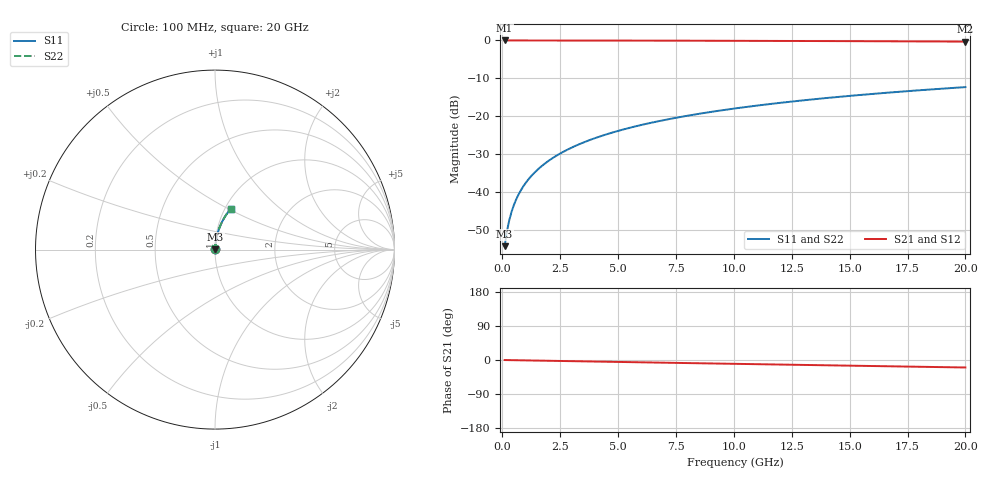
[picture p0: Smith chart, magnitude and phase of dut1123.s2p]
! Touchstone file exported from HFSS 2026.1.0
!  File:  C:/ffzhzh/LocalFiles/Ansys_Project_Files/temp_train_BSMRDL_1123_1783175173_55132.aedt
!  Generated:  10:27:36 PM Jul  4, 2026
!  Design:  BSMRDL
!  Project:  temp_train_BSMRDL_1123_1783175173_55132
! Variables:
!  h_bsmrdl = 3.51um
!  h_ox = 20um
!  h_rdl = 5um
!  h_sub = 80um
!  h_tmrdl = 5um
!  h_tsv = 80um
!  h_via = 3um
!  l_bsmrdl = 205.71um
!  l_sub = 605.71um
!  l_tmrdl = 200um
!  m_sub = 200um
!  pitch = 56.84um
!  r_tsv = 6um
!  s_tmrdl = 10um
!  w_bsmrdl = 16.82um
!  w_sub = 500um
!  w_tmrdl = 12um
!  x_tsv_center1 = 206um
!  x_tsv_center2 = 428.53um
!  x_tsv_center3 = 640.53um
!  x_tsv_center4 = 863.06um
!  x_tsv_center5 = 1075.06um
!  x_tsv_center6 = 1297.59um
# GHz S MA R 50.000000
! Terminal data exported
! Port[1] = BSM_RDL1_1_T1
! Port[2] = BSM_RDL1_1_T2
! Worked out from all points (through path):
!   200 points, 100 MHz to 20 GHz, reference 50 ohm
!   highest |S21| = -0.01 dB at 100 MHz (marker M1); lowest = -0.3 dB at 20 GHz (marker M2)
!   group delay of S21, straight-line fit = 2.74 ps
!   lowest |S11| = -54.1 dB at 100 MHz (marker M3), VSWR 1.00, Z = 50.1 + j0.136 ohm
!   |S11| at or under -10 dB: start of sweep to end of sweep
!   |S22| runs from -54.1 to -12.3 dB; largest |S21 - S12| = 3.2e-15
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0.1  0.001966 43.6  0.9986 -0.1  0.9986 -0.1  0.001966 43.6
! Gamma 0 0 0 0
! Port Impedance 50 0 50 0
0.2  0.00307 61.6  0.9985 -0.2  0.9985 -0.2  0.00307 61.6
0.3  0.0043 69.4  0.9985 -0.3  0.9985 -0.3  0.0043 69.4
0.4  0.005561 73.6  0.9985 -0.4  0.9985 -0.4  0.005561 73.6
0.5  0.00683 76.2  0.9984 -0.5  0.9984 -0.5  0.00683 76.2
0.6  0.008102 78.0  0.9984 -0.6  0.9984 -0.6  0.008102 78.0
0.8  0.01066 80.3  0.9983 -0.8  0.9983 -0.8  0.01066 80.3
1.1  0.0145 82.2  0.9982 -1.1  0.9982 -1.1  0.0145 82.2
1.5  0.01965 83.3  0.9981 -1.5  0.9981 -1.5  0.01965 83.3
1.8  0.02351 83.8  0.9979 -1.9  0.9979 -1.9  0.02351 83.8
2.1  0.02738 84.0  0.9978 -2.2  0.9978 -2.2  0.02738 84.0
2.7  0.03511 84.1  0.9975 -2.8  0.9975 -2.8  0.03511 84.1
3.5  0.04539 83.8  0.9969 -3.6  0.9969 -3.6  0.04539 83.8
4.2  0.05435 83.4  0.9963 -4.3  0.9963 -4.3  0.05435 83.4
5  0.06453 82.8  0.9955 -5.1  0.9955 -5.1  0.06453 82.8
5.9  0.07592 82.0  0.9945 -6.0  0.9945 -6.0  0.07592 82.0
6.8  0.08723 81.2  0.9934 -6.9  0.9934 -6.9  0.08723 81.2
8.3  0.1059 79.8  0.9912 -8.4  0.9912 -8.4  0.1059 79.8
10.1  0.128 78.2  0.9882 -10.2  0.9882 -10.2  0.128 78.2
13.4  0.1676 75.1  0.9816 -13.4  0.9816 -13.4  0.1676 75.1
16.7  0.206 72.0  0.9738 -16.6  0.9738 -16.6  0.206 72.0
20  0.2431 69.0  0.9648 -19.8  0.9648 -19.8  0.2431 69.0
